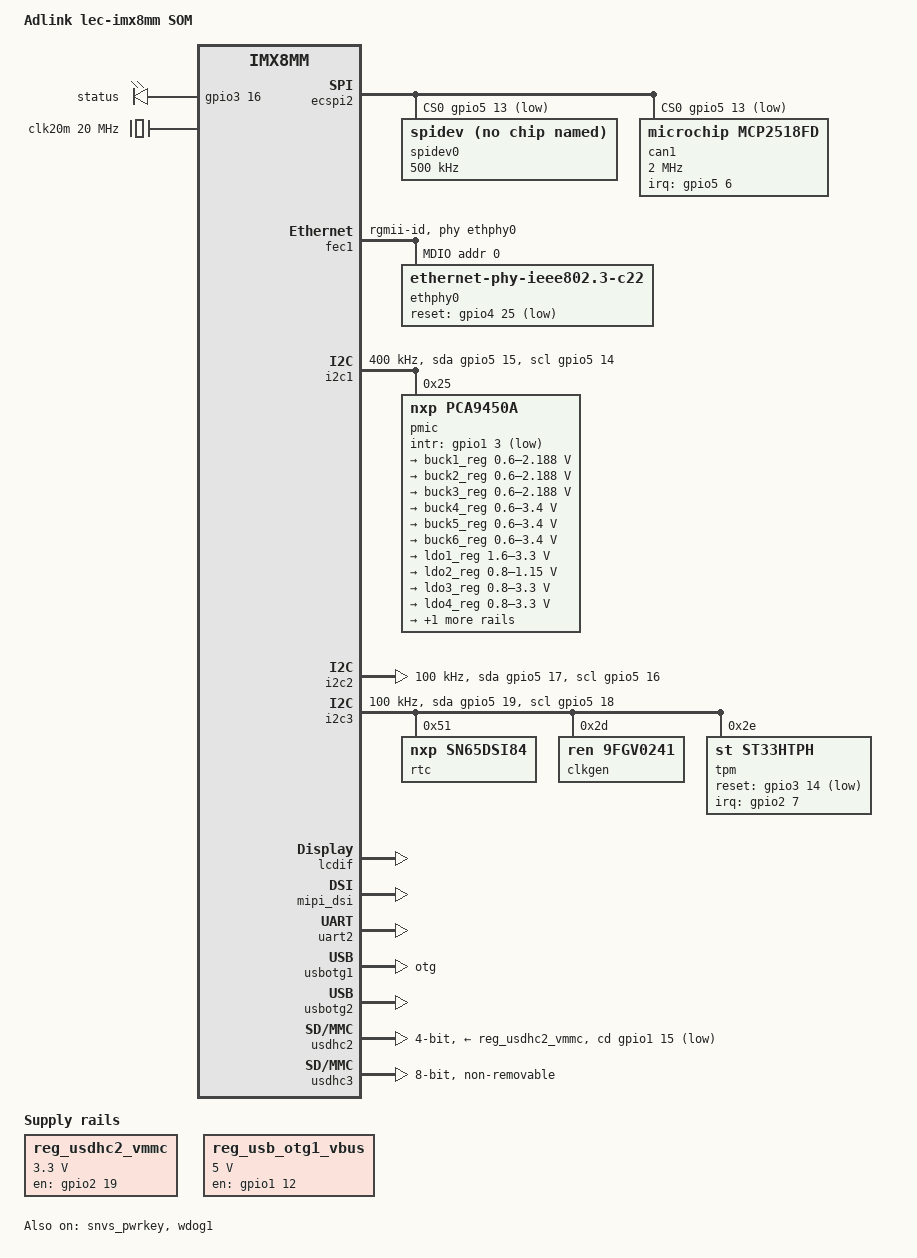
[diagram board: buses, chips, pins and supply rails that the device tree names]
// SPDX-License-Identifier: (GPL-2.0+ OR MIT)
/*
 * Copyright 2019 NXP
 */

/dts-v1/;

#include <dt-bindings/usb/pd.h>
#include <dt-bindings/net/ti-dp83867.h>
#include "imx8mm.dtsi"

/ {
	model = "Adlink lec-imx8mm  SOM";
	compatible = "fsl,imx8mm-evk", "fsl,imx8mm", "adlink,lec-imx8mm";

chosen {
		bootargs = "console=ttymxc1,115200 earlycon=ec_imx6q,0x30890000,115200";
		stdout-path = &uart2;
	};

	leds {
		compatible = "gpio-leds";
		pinctrl-names = "default";
		pinctrl-0 = <&pinctrl_gpio_led>;

		status {
			label = "status";
			gpios = <&gpio3 16 GPIO_ACTIVE_HIGH>;
			default-state = "on"; /* LED GREEN */
		};
	};

	/* SDCard vmmc */
	reg_usdhc2_vmmc: regulator-usdhc2 {
		compatible = "regulator-fixed";
		pinctrl-names = "default";
		pinctrl-0 = <&pinctrl_reg_usdhc2_vmmc>;
		regulator-name = "VSD_3V3";
		regulator-min-microvolt = <3300000>;
		regulator-max-microvolt = <3300000>;
		gpio = <&gpio2 19 GPIO_ACTIVE_HIGH>;
		enable-active-high;
		startup-delay-us = <100>;
		off-on-delay-us = <12000>;
	};

	/* No cbtl04gp (ch-x-switch)
	cbtl04gp {
		compatible = "nxp,cbtl04gp";
		pinctrl-names = "default";
		pinctrl-0 = <&pinctrl_typec_mux>;
		switch-gpios = <&gpio4 20 GPIO_ACTIVE_LOW>;
		orientation-switch;

		port {
			usb3_data_ss: endpoint {
				remote-endpoint = <&typec_con_ss>;
			};
		};
	}; */

	/* fixed clock dedicated to SPI CAN controller */
	clk20m: oscillator {
		compatible = "fixed-clock";
		#clock-cells = <0>;
		clock-frequency = <20000000>;
	};
};

&ecspi2 {
	#address-cells = <1>;
	#size-cells = <0>;
	fsl,spi-num-chipselects = <1>;
	pinctrl-names = "default";
	pinctrl-0 = <&pinctrl_ecspi2 &pinctrl_ecspi2_cs>;
	cs-gpios = <&gpio5 13 GPIO_ACTIVE_LOW>;
	status = "okay";

	spidev0: spi@0 {
		reg = <0>;
		compatible = "rohm,dh2228fv";
		spi-max-frequency = <500000>;
	};

	can1: mcp2518fd@0 {
		compatible = "microchip,mcp2518fd";
		clocks = <&clk20m>;
		gpio-controller;
		interrupt-parent = <&gpio5>;
		interrupts = <6 IRQ_TYPE_EDGE_FALLING>;
		microchip,clock-allways-on;
		microchip,clock-out-div = <1>;
		pinctrl-names = "default";
		pinctrl-0 = <&pinctrl_can1_int>;
		reg = <0>;
		spi-max-frequency = <2000000>;
	};
};

&fec1 {
	pinctrl-names = "default";
	pinctrl-0 = <&pinctrl_fec1>;
	phy-mode = "rgmii-id";
	phy-handle = <&ethphy0>;
	fsl,magic-packet;
	status = "okay";

	mdio {
		#address-cells = <1>;
		#size-cells = <0>;

		/* DM9119INX-1A_DAVICOM */
		ethphy0: ethernet-phy@0 {
			compatible = "ethernet-phy-ieee802.3-c22";
			reg = <0>;
			/* MX8MM_IOMUX_SAI2_TXC_GPIO4_IO25 (ENET_nRST) */
			reset-gpios = <&gpio4 25 GPIO_ACTIVE_LOW>;
			reset-assert-us = <10000>;
		};
	};
};

/* I2C_PM: PMIC(1v8) */
&i2c1 {
	clock-frequency = <400000>;
	pinctrl-names = "default", "gpio";
	pinctrl-0 = <&pinctrl_i2c1>;
	pinctrl-1 = <&pinctrl_i2c1_gpio>;
	scl-gpios = <&gpio5 14 GPIO_ACTIVE_HIGH>;
	sda-gpios = <&gpio5 15 GPIO_ACTIVE_HIGH>;
	status = "okay";

	pmic: pca9450@25 {
		reg = <0x25>;
		compatible = "nxp,pca9450a";
		/* PMIC: PCA9450: PMIC_nINT GPIO1_IO3 */
		pinctrl-0 = <&pinctrl_pmic>;
		gpio_intr = <&gpio1 3 GPIO_ACTIVE_LOW>;

		regulators {
			#address-cells = <1>;
			#size-cells = <0>;

			pca9450,pmic-buck2-uses-i2c-dvs;
			/* Run/Standby voltage */
			pca9450,pmic-buck2-dvs-voltage = <950000>, <850000>;

			buck1_reg: regulator@0 {
				reg = <0>;
				regulator-compatible = "buck1";
				regulator-min-microvolt = <600000>;
				regulator-max-microvolt = <2187500>;
				regulator-boot-on;
				regulator-always-on;
				regulator-ramp-delay = <3125>;
			};

			buck2_reg: regulator@1 {
				reg = <1>;
				regulator-compatible = "buck2";
				regulator-min-microvolt = <600000>;
				regulator-max-microvolt = <2187500>;
				regulator-boot-on;
				regulator-always-on;
				regulator-ramp-delay = <3125>;
			};

			buck3_reg: regulator@2 {
				reg = <2>;
				regulator-compatible = "buck3";
				regulator-min-microvolt = <600000>;
				regulator-max-microvolt = <2187500>;
				regulator-boot-on;
				regulator-always-on;
			};

			buck4_reg: regulator@3 {
				reg = <3>;
				regulator-compatible = "buck4";
				regulator-min-microvolt = <600000>;
				regulator-max-microvolt = <3400000>;
				regulator-boot-on;
				regulator-always-on;
			};

			buck5_reg: regulator@4 {
				reg = <4>;
				regulator-compatible = "buck5";
				regulator-min-microvolt = <600000>;
				regulator-max-microvolt = <3400000>;
				regulator-boot-on;
				regulator-always-on;
			};

			buck6_reg: regulator@5 {
				reg = <5>;
				regulator-compatible = "buck6";
				regulator-min-microvolt = <600000>;
				regulator-max-microvolt = <3400000>;
				regulator-boot-on;
				regulator-always-on;
			};

			ldo1_reg: regulator@6 {
				reg = <6>;
				regulator-compatible = "ldo1";
				regulator-min-microvolt = <1600000>;
				regulator-max-microvolt = <3300000>;
				regulator-boot-on;
				regulator-always-on;
			};

			ldo2_reg: regulator@7 {
				reg = <7>;
				regulator-compatible = "ldo2";
				regulator-min-microvolt = <800000>;
				regulator-max-microvolt = <1150000>;
				regulator-boot-on;
				regulator-always-on;
			};

			ldo3_reg: regulator@8 {
				reg = <8>;
				regulator-compatible = "ldo3";
				regulator-min-microvolt = <800000>;
				regulator-max-microvolt = <3300000>;
				regulator-boot-on;
				regulator-always-on;
			};

			ldo4_reg: regulator@9 {
				reg = <9>;
				regulator-compatible = "ldo4";
				regulator-min-microvolt = <800000>;
				regulator-max-microvolt = <3300000>;
				regulator-boot-on;
				regulator-always-on;
			};

			ldo5_reg: regulator@10 {
				reg = <10>;
				regulator-compatible = "ldo5";
				regulator-min-microvolt = <1800000>;
				regulator-max-microvolt = <3300000>;
			};

		};
	};
};

/* I2C_GP: LCD(1v8), DSI to LVDS(1v8) */
&i2c2 {
	clock-frequency = <100000>;
	pinctrl-names = "default", "gpio";
	pinctrl-0 = <&pinctrl_i2c2>;
	pinctrl-1 = <&pinctrl_i2c2_gpio>;
	scl-gpios = <&gpio5 16 GPIO_ACTIVE_HIGH>;
	sda-gpios = <&gpio5 17 GPIO_ACTIVE_HIGH>;
	status = "okay";

	/* No PTN5110 USB PD
	ptn5110: tcpc@50 {
		compatible = "nxp,ptn5110";
		pinctrl-names = "default";
		pinctrl-0 = <&pinctrl_typec1>;
		reg = <0x50>;
		interrupt-parent = <&gpio4>;
		interrupts = <19 8>;

		port {
			typec1_dr_sw: endpoint {
				remote-endpoint = <&usb1_drd_sw>;
			};
		};

		usb_con: connector {
			compatible = "usb-c-connector";
			label = "USB-C";
			power-role = "dual";
			data-role = "dual";
			try-power-role = "sink";
			source-pdos = <PDO_FIXED(5000, 3000, PDO_FIXED_USB_COMM)>;
			sink-pdos = <PDO_FIXED(5000, 3000, PDO_FIXED_USB_COMM)
				     PDO_VAR(5000, 20000, 3000)>;
			op-sink-microwatt = <15000000>;
			self-powered;

			ports {
				#address-cells = <1>;
				#size-cells = <0>;

				port@1 {
					reg = <1>;
					typec_con_ss: endpoint {
						remote-endpoint = <&usb3_data_ss>;
					};
				};
			};
		};
	}; */
	
	/* DSI-LVDS Bridge sn65dsi84
	dsi_lvds_bridge: sn65dsi84@2d {
		reg = <0x2d>;
		status = "okay";
		compatible = "ti,sn65dsi84";
		#gpio-cells = <2>;
		enable-gpios = <&gpio3 1 GPIO_ACTIVE_HIGH>;
		sn65dsi84,addresses = <
			0x09 0x0A 0x0B 0x0D
			0x10 0x11 0x12 0x13
			0x18 0x19 0x1A 0x1B
			0x20 0x21 0x22 0x23
			0x24 0x25 0x26 0x27
			0x28 0x29 0x2A 0x2B
			0x2C 0x2D 0x2E 0x2F
			0x30 0x31 0x32 0x33
			0x34 0x35 0x36 0x37
			0x38 0x39 0x3A 0x3B
			0x3C 0x3D 0x3E 0x0D
		>;
		sn65dsi84,values = <
			0x00 0x05 0x1b 0x00
			0x26 0x00 0x35 0x00
			0x6c 0x00 0x03 0x00
			0x80 0x07 0x00 0x00
			0x00 0x00 0x00 0x00
			0xf8 0x01 0x00 0x00
			0x0a 0x00 0x00 0x00
			0x0e 0x00 0x00 0x00
			0x28 0x00 0x00 0x00
			0x00 0x00 0x00 0x00
			0x00 0x00 0x00 0x01
		>;
	}; */
};

/* I2C_CAM1: CAM1(1v8), TPM(1.8), PCIe ClockGen(1v8), RTC(3v3), HDMI(3.3) */
&i2c3 {
	clock-frequency = <100000>;
	pinctrl-names = "default", "gpio";
	pinctrl-0 = <&pinctrl_i2c3>;
	pinctrl-1 = <&pinctrl_i2c3_gpio>;
	scl-gpios = <&gpio5 18 GPIO_ACTIVE_HIGH>;
	sda-gpios = <&gpio5 19 GPIO_ACTIVE_HIGH>;
	status = "okay";

	/* RTC: PCF8563BS - FIXME-Po */
	rtc: pcf8563bs@51 {
		reg = <0x51>;
		compatible = "nxp,sn65dsi84";
	};

	/* PCIe ClockGen: 9FGV0241AKILF_RENESAS */
	clkgen: 9fgv0241@6a {
		reg = <0x2d>;
		compatible = "ren,9fgv0241";
	};

	/* TPM: ST33HTPH2X32AHD5 - FIXME-Po */
	tpm: st33htph77@2e {
		reg = <0x2e>;
		compatible = "st,st33htph";
		/* MX8MM_IOMUXC_SD1_DATA5_GPIO2_IO7 (TPM_INT_N) */
		interrupt-parent = <&gpio2>;
		interrupts = <7 IRQ_TYPE_EDGE_FALLING>;
		/* MX8MM_IOMUXC_NAND_DQS_GPIO3_IO14 (TPM_RST#) */
		reset-gpios = <&gpio3 14 GPIO_ACTIVE_LOW>;
		reset-assert-us = <10000>;
	};
};

&lcdif {
	status = "okay";
};

&mipi_dsi {
	status = "okay";
};

&snvs_pwrkey {
	status = "okay";
};

/* debug console */
&uart2 {
	pinctrl-names = "default";
	pinctrl-0 = <&pinctrl_uart2>;
	status = "okay";
};

/* usb otg for serial download mode */
&usbotg1 {
	dr_mode = "otg";
	status = "okay";
};

/* usb host for usb-hub co-lay */
&usbotg2 {
	status = "okay";
};

/* SDCard */
&usdhc2 {
	pinctrl-names = "default", "state_100mhz", "state_200mhz";
	pinctrl-0 = <&pinctrl_usdhc2>, <&pinctrl_usdhc2_gpio>;
	pinctrl-1 = <&pinctrl_usdhc2_100mhz>, <&pinctrl_usdhc2_gpio>;
	pinctrl-2 = <&pinctrl_usdhc2_200mhz>, <&pinctrl_usdhc2_gpio>;
	cd-gpios = <&gpio1 15 GPIO_ACTIVE_LOW>;
	vmmc-supply = <&reg_usdhc2_vmmc>;
	bus-width = <4>;
	status = "okay";
};

/* EMMC */
&usdhc3 {
	pinctrl-names = "default", "state_100mhz", "state_200mhz";
	pinctrl-0 = <&pinctrl_usdhc3>;
	pinctrl-1 = <&pinctrl_usdhc3_100mhz>;
	pinctrl-2 = <&pinctrl_usdhc3_200mhz>;
	bus-width = <8>;
	non-removable;
	status = "okay";
};

&wdog1 {
	pinctrl-names = "default";
	pinctrl-0 = <&pinctrl_wdog>;
	fsl,ext-reset-output;
	status = "okay";
};

&iomuxc {
	pinctrl-names = "default";

	pinctrl_ecspi2: ecspi2grp {
		fsl,pins = <
			MX8MM_IOMUXC_ECSPI2_SCLK_ECSPI2_SCLK		0x82
			MX8MM_IOMUXC_ECSPI2_MOSI_ECSPI2_MOSI		0x82
			MX8MM_IOMUXC_ECSPI2_MISO_ECSPI2_MISO		0x82
		>;
	};

	pinctrl_ecspi2_cs: ecspi2cs {
		fsl,pins = <
			MX8MM_IOMUXC_ECSPI2_SS0_GPIO5_IO13		0x40000
		>;
	};

	pinctrl_can1_int: can1intgrp {
		fsl,pins = <
			MX8MM_IOMUXC_I2C4_SDA_GPIO5_IO21		0x1c4 /* check 0x1c4 */
		>;
	};

	pinctrl_fec1: fec1grp {
		fsl,pins = <
			MX8MM_IOMUXC_ENET_MDC_ENET1_MDC			0x3
			MX8MM_IOMUXC_ENET_MDIO_ENET1_MDIO		0x3
			MX8MM_IOMUXC_ENET_TD3_ENET1_RGMII_TD3		0x1f
			MX8MM_IOMUXC_ENET_TD2_ENET1_RGMII_TD2		0x1f
			MX8MM_IOMUXC_ENET_TD1_ENET1_RGMII_TD1		0x1f
			MX8MM_IOMUXC_ENET_TD0_ENET1_RGMII_TD0		0x1f
			MX8MM_IOMUXC_ENET_RD3_ENET1_RGMII_RD3		0x91
			MX8MM_IOMUXC_ENET_RD2_ENET1_RGMII_RD2		0x91
			MX8MM_IOMUXC_ENET_RD1_ENET1_RGMII_RD1		0x91
			MX8MM_IOMUXC_ENET_RD0_ENET1_RGMII_RD0		0x91
			MX8MM_IOMUXC_ENET_TXC_ENET1_RGMII_TXC		0x1f
			MX8MM_IOMUXC_ENET_RXC_ENET1_RGMII_RXC		0x91
			MX8MM_IOMUXC_ENET_RX_CTL_ENET1_RGMII_RX_CTL	0x91
			MX8MM_IOMUXC_ENET_TX_CTL_ENET1_RGMII_TX_CTL	0x1f
			MX8MM_IOMUXC_SAI2_RXC_GPIO4_IO22		0x19
		>;
	};

	pinctrl_gpio_led: gpioledgrp {
		fsl,pins = <
			MX8MM_IOMUXC_NAND_READY_B_GPIO3_IO16	0x19
		>;
	};

	pinctrl_i2c1: i2c1grp {
		fsl,pins = <
			MX8MM_IOMUXC_I2C1_SCL_I2C1_SCL			0x400001c3
			MX8MM_IOMUXC_I2C1_SDA_I2C1_SDA			0x400001c3
		>;
	};

	pinctrl_i2c1_gpio: i2c1grp-gpio {
		fsl,pins = <
			MX8MM_IOMUXC_I2C1_SCL_GPIO5_IO14        	0x1c3
			MX8MM_IOMUXC_I2C1_SDA_GPIO5_IO15        	0x1c3
		>;
	};

	pinctrl_i2c2: i2c2grp {
		fsl,pins = <
			MX8MM_IOMUXC_I2C2_SCL_I2C2_SCL			0x400001c3
			MX8MM_IOMUXC_I2C2_SDA_I2C2_SDA			0x400001c3
		>;
	};

	pinctrl_i2c2_gpio: i2c2grp-gpio {
		fsl,pins = <
			MX8MM_IOMUXC_I2C2_SCL_GPIO5_IO16        	0x1c3
			MX8MM_IOMUXC_I2C2_SDA_GPIO5_IO17        	0x1c3
		>;
	};

	pinctrl_i2c3: i2c3grp {
		fsl,pins = <
			MX8MM_IOMUXC_I2C3_SCL_I2C3_SCL			0x400001c3
			MX8MM_IOMUXC_I2C3_SDA_I2C3_SDA			0x400001c3
		>;
	};

	pinctrl_i2c3_gpio: i2c3grp-gpio {
		fsl,pins = <
			MX8MM_IOMUXC_I2C3_SCL_GPIO5_IO18        	0x1c3
			MX8MM_IOMUXC_I2C3_SDA_GPIO5_IO19        	0x1c3
		>;
	};

	/* LCD0_VDD_EN */
	pinctrl_mipi_dsi_en: mipi_dsi_en {
		fsl,pins = <
			MX8MM_IOMUXC_GPIO1_IO08_GPIO1_IO8		0x19
		>;
	};

	/* PMIC_nINT */
	pinctrl_pmic: pmicirqgrp {
		fsl,pins = <
			MX8MM_IOMUXC_GPIO1_IO03_GPIO1_IO3		0x141
		>;
	};

	/* FIX ME - no PTN5110NHQZ USB PD IC (ONLY MCP USB251xBi USB Switch)
	pinctrl_typec1: typec1grp {
		fsl,pins = <
			MX8MM_IOMUXC_SD1_STROBE_GPIO2_IO11	0x159
		>;
	}; */

	reg_usb_otg1_vbus: regulator-usb-otg1 {
		compatible = "regulator-fixed";
		enable-active-high;
		gpio = <&gpio1 12 GPIO_ACTIVE_HIGH>;
		pinctrl-names = "default";
		pinctrl-0 = <&pinctrl_reg_usb1_en>;
		regulator-name = "usb_otg1_vbus";
		regulator-min-microvolt = <5000000>;
		regulator-max-microvolt = <5000000>;
	};

	/* SD2_nRST (SDIO_PWR_EN) */
	pinctrl_reg_usdhc2_vmmc: regusdhc2vmmcgrp {
		fsl,pins = <
			MX8MM_IOMUXC_SD2_RESET_B_GPIO2_IO19	0x41
		>;
	};

	pinctrl_uart2: uart2grp {
		fsl,pins = <
			MX8MM_IOMUXC_UART2_RXD_UART2_DCE_RX	0x140
			MX8MM_IOMUXC_UART2_TXD_UART2_DCE_TX	0x140
		>;
	};

	pinctrl_usb1_vbus: usb1grp {
		fsl,pins = <
			/* FIXME-Po: suppose to be USB1_VBUS pin */
			MX8MM_IOMUXC_GPIO1_IO14_USB2_OTG_PWR	0x19
		>;
	};

	pinctrl_reg_usb1_en: regusb1engrp {
		fsl,pins = <
			MX8MM_IOMUXC_GPIO1_IO12_GPIO1_IO12	0x184		/* SODIMM 155 */
		>;
	};

	pinctrl_usdhc2_gpio: usdhc2grpgpiogrp {
		fsl,pins = <
			MX8MM_IOMUXC_GPIO1_IO15_GPIO1_IO15	0x1c4
		>;
	};

	pinctrl_usdhc2: usdhc2grp {
		fsl,pins = <
			MX8MM_IOMUXC_SD2_CLK_USDHC2_CLK		0x190
			MX8MM_IOMUXC_SD2_CMD_USDHC2_CMD		0x1d0
			MX8MM_IOMUXC_SD2_DATA0_USDHC2_DATA0	0x1d0
			MX8MM_IOMUXC_SD2_DATA1_USDHC2_DATA1	0x1d0
			MX8MM_IOMUXC_SD2_DATA2_USDHC2_DATA2	0x1d0
			MX8MM_IOMUXC_SD2_DATA3_USDHC2_DATA3	0x1d0
			MX8MM_IOMUXC_GPIO1_IO04_USDHC2_VSELECT	0x1d0
		>;
	};

	pinctrl_usdhc2_100mhz: usdhc2-100mhzgrp {
		fsl,pins = <
			MX8MM_IOMUXC_SD2_CLK_USDHC2_CLK		0x194
			MX8MM_IOMUXC_SD2_CMD_USDHC2_CMD		0x1d4
			MX8MM_IOMUXC_SD2_DATA0_USDHC2_DATA0	0x1d4
			MX8MM_IOMUXC_SD2_DATA1_USDHC2_DATA1	0x1d4
			MX8MM_IOMUXC_SD2_DATA2_USDHC2_DATA2	0x1d4
			MX8MM_IOMUXC_SD2_DATA3_USDHC2_DATA3	0x1d4
			MX8MM_IOMUXC_GPIO1_IO04_USDHC2_VSELECT	0x1d0
		>;
	};

	pinctrl_usdhc2_200mhz: usdhc2-200mhzgrp {
		fsl,pins = <
			MX8MM_IOMUXC_SD2_CLK_USDHC2_CLK		0x196
			MX8MM_IOMUXC_SD2_CMD_USDHC2_CMD		0x1d6
			MX8MM_IOMUXC_SD2_DATA0_USDHC2_DATA0	0x1d6
			MX8MM_IOMUXC_SD2_DATA1_USDHC2_DATA1	0x1d6
			MX8MM_IOMUXC_SD2_DATA2_USDHC2_DATA2	0x1d6
			MX8MM_IOMUXC_SD2_DATA3_USDHC2_DATA3	0x1d6
			MX8MM_IOMUXC_GPIO1_IO04_USDHC2_VSELECT	0x1d0
		>;
	};

	pinctrl_usdhc3: usdhc3grp {
		fsl,pins = <
			MX8MM_IOMUXC_NAND_WE_B_USDHC3_CLK	0x190
			MX8MM_IOMUXC_NAND_WP_B_USDHC3_CMD	0x1d0
			MX8MM_IOMUXC_NAND_DATA04_USDHC3_DATA0	0x1d0
			MX8MM_IOMUXC_NAND_DATA05_USDHC3_DATA1	0x1d0
			MX8MM_IOMUXC_NAND_DATA06_USDHC3_DATA2	0x1d0
			MX8MM_IOMUXC_NAND_DATA07_USDHC3_DATA3	0x1d0
			MX8MM_IOMUXC_NAND_RE_B_USDHC3_DATA4	0x1d0
			MX8MM_IOMUXC_NAND_CE2_B_USDHC3_DATA5	0x1d0
			MX8MM_IOMUXC_NAND_CE3_B_USDHC3_DATA6	0x1d0
			MX8MM_IOMUXC_NAND_CLE_USDHC3_DATA7	0x1d0
			MX8MM_IOMUXC_NAND_CE1_B_USDHC3_STROBE	0x190
		>;
	};

	pinctrl_usdhc3_100mhz: usdhc3grp-100mhz {
		fsl,pins = <
			MX8MM_IOMUXC_NAND_WE_B_USDHC3_CLK	0x194
			MX8MM_IOMUXC_NAND_WP_B_USDHC3_CMD	0x1d4
			MX8MM_IOMUXC_NAND_DATA04_USDHC3_DATA0	0x1d4
			MX8MM_IOMUXC_NAND_DATA05_USDHC3_DATA1	0x1d4
			MX8MM_IOMUXC_NAND_DATA06_USDHC3_DATA2	0x1d4
			MX8MM_IOMUXC_NAND_DATA07_USDHC3_DATA3	0x1d4
			MX8MM_IOMUXC_NAND_RE_B_USDHC3_DATA4	0x1d4
			MX8MM_IOMUXC_NAND_CE2_B_USDHC3_DATA5	0x1d4
			MX8MM_IOMUXC_NAND_CE3_B_USDHC3_DATA6	0x1d4
			MX8MM_IOMUXC_NAND_CLE_USDHC3_DATA7	0x1d4
			MX8MM_IOMUXC_NAND_CE1_B_USDHC3_STROBE	0x194
		>;
	};

	pinctrl_usdhc3_200mhz: usdhc3grp-200mhz {
		fsl,pins = <
			MX8MM_IOMUXC_NAND_WE_B_USDHC3_CLK	0x196
			MX8MM_IOMUXC_NAND_WP_B_USDHC3_CMD	0x1d6
			MX8MM_IOMUXC_NAND_DATA04_USDHC3_DATA0	0x1d6
			MX8MM_IOMUXC_NAND_DATA05_USDHC3_DATA1	0x1d6
			MX8MM_IOMUXC_NAND_DATA06_USDHC3_DATA2	0x1d6
			MX8MM_IOMUXC_NAND_DATA07_USDHC3_DATA3	0x1d6
			MX8MM_IOMUXC_NAND_RE_B_USDHC3_DATA4	0x1d6
			MX8MM_IOMUXC_NAND_CE2_B_USDHC3_DATA5	0x1d6
			MX8MM_IOMUXC_NAND_CE3_B_USDHC3_DATA6	0x1d6
			MX8MM_IOMUXC_NAND_CLE_USDHC3_DATA7	0x1d6
			MX8MM_IOMUXC_NAND_CE1_B_USDHC3_STROBE	0x196
		>;
	};

	pinctrl_wdog: wdoggrp {
		fsl,pins = <
			MX8MM_IOMUXC_GPIO1_IO02_WDOG1_WDOG_B	0xc6
		>;
	};
};
